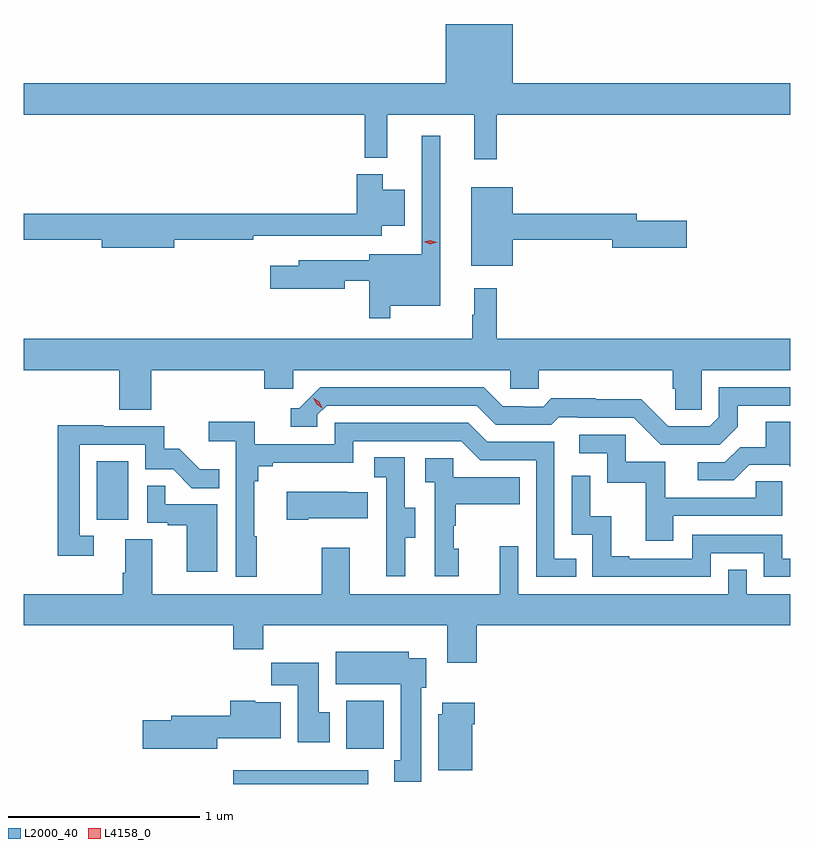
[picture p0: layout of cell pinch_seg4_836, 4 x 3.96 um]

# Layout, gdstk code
import gdstk
lib = gdstk.Library(unit=1e-6, precision=1e-09)
def R(c, l, rs):  # rectangles x0, y0, x1, y1
    for r in rs: c.add(gdstk.rectangle(r[:2], r[2:], *l))
def P(c, l, *ps):  # polygons
    for p in ps: c.add(gdstk.Polygon(p, *l))
L2000_40 = (2000, 40)
L4158_0 = (4158, 0)

pinch_seg4_836 = lib.new_cell('pinch_seg4_836')
R(pinch_seg4_836, L2000_40, [(875.765,794.661,876.469,794.734), (876.353,794.844,876.549,795.094), (875.054,796.038,875.218,796.345)])
P(pinch_seg4_836, L2000_40, [(877.139,798.152),(878.671,798.152),(878.671,798.316),(877.222,798.316),(877.222,798.625),(876.872,798.625),(876.872,798.316),(874.671,798.316),(874.671,798.152),(876.451,798.152),(876.451,797.927),(876.569,797.927),(876.569,798.152),(877.022,798.152),(877.022,797.919),(877.139,797.919)],
  [(876.583,797.156),(876.844,797.156),(876.844,798.043),(876.747,798.043),(876.747,797.425),(876.473,797.425),(876.473,797.394),(876.107,797.394),(876.107,797.365),(875.958,797.365),(875.958,797.243),(876.346,797.243),(876.346,797.286),(876.474,797.286),(876.474,797.091),(876.583,797.091)],
  [(875.458,797.5),(875.87,797.5),(875.87,797.52),(876.538,797.52),(876.538,797.573),(876.658,797.573),(876.658,797.761),(876.544,797.761),(876.544,797.842),(876.41,797.842),(876.41,797.636),(874.671,797.636),(874.671,797.5),(875.078,797.5),(875.078,797.458),(875.458,797.458)],
  [(877.222,797.5),(877.742,797.5),(877.742,797.458),(878.131,797.458),(878.131,797.6),(877.87,797.6),(877.87,797.636),(877.222,797.636),(877.222,797.773),(877.007,797.773),(877.007,797.363),(877.222,797.363)],
  [(874.671,796.82),(875.171,796.82),(875.171,796.612),(875.336,796.612),(875.336,796.82),(875.927,796.82),(875.927,796.722),(876.078,796.722),(876.078,796.82),(877.209,796.82),(877.209,796.722),(877.359,796.722),(877.359,796.82),(878.057,796.82),(878.057,796.722),(878.071,796.722),(878.071,796.612),(878.208,796.612),(878.208,796.82),(878.671,796.82),(878.671,796.984),(877.139,796.984),(877.139,797.248),(877.022,797.248),(877.022,797.108),(877.011,797.108),(877.011,796.984),(874.671,796.984)],
  [(878.395,796.525),(878.395,796.635),(878.671,796.635),(878.671,796.731),(878.298,796.731),(878.298,796.575),(878.25,796.527),(878.034,796.527),(877.892,796.669),(877.656,796.669),(877.656,796.672),(877.423,796.672),(877.381,796.629),(877.278,796.629),(877.278,796.632),(877.171,796.632),(877.072,796.731),(876.219,796.731),(876.108,796.62),(876.065,796.62),(876.065,796.524),(876.204,796.524),(876.204,796.587),(876.252,796.635),(877.035,796.635),(877.134,796.536),(877.423,796.536),(877.462,796.575),(877.561,796.575),(877.561,796.572),(877.854,796.572),(877.995,796.431),(878.301,796.431)],
  [(875.887,795.953),(875.875,795.953),(875.875,796.241),(875.894,796.241),(875.894,796.318),(875.971,796.318),(875.971,796.337),(876.39,796.337),(876.39,796.449),(876.954,796.449),(877.053,796.35),(877.344,796.35),(877.344,795.741),(877.553,795.741),(877.553,795.837),(877.44,795.837),(877.44,796.446),(877.09,796.446),(876.991,796.545),(876.294,796.545),(876.294,796.434),(875.876,796.434),(875.876,796.55),(875.637,796.55),(875.637,796.448),(875.778,796.448),(875.778,795.741),(875.887,795.741)],
  [(878.455,796.326),(878.661,796.326),(878.671,796.316),(878.671,796.55),(878.543,796.55),(878.543,796.418),(878.408,796.418),(878.328,796.338),(878.187,796.338),(878.187,796.245),(878.374,796.245)],
  [(875.038,795.957),(874.965,795.957),(874.965,796.431),(875.307,796.431),(875.307,796.302),(875.451,796.302),(875.549,796.204),(875.693,796.204),(875.693,796.303),(875.589,796.303),(875.482,796.41),(875.406,796.41),(875.406,796.527),(875.087,796.527),(875.087,796.532),(874.849,796.532),(874.849,795.852),(875.038,795.852)],
  [(878.059,796.059),(878.628,796.059),(878.628,796.239),(878.491,796.239),(878.491,796.155),(878.017,796.155),(878.017,796.341),(877.812,796.341),(877.812,796.482),(877.569,796.482),(877.569,796.386),(877.716,796.386),(877.716,796.233),(877.915,796.233),(877.915,795.93),(878.059,795.93)],
  [(876.661,795.946),(876.715,795.946),(876.715,796.101),(876.66,796.101),(876.66,796.364),(876.501,796.364),(876.501,796.261),(876.564,796.261),(876.564,795.957),(876.563,795.957),(876.563,795.744),(876.661,795.744)],
  [(876.94,795.888),(876.915,795.888),(876.915,796.007),(876.925,796.007),(876.925,796.121),(877.259,796.121),(877.259,796.261),(876.912,796.261),(876.912,796.359),(876.765,796.359),(876.765,796.235),(876.816,796.235),(876.816,795.744),(876.94,795.744)],
  [(878.256,795.864),(878.532,795.864),(878.532,795.741),(878.671,795.741),(878.671,795.837),(878.628,795.837),(878.628,795.96),(878.16,795.96),(878.16,795.837),(877.831,795.837),(877.831,795.85),(877.736,795.85),(877.736,796.058),(877.626,796.058),(877.626,796.27),(877.53,796.27),(877.53,795.96),(877.638,795.96),(877.638,795.741),(878.256,795.741)],
  [(875.68,796.119),(875.411,796.119),(875.411,796.217),(875.316,796.217),(875.316,796.023),(875.423,796.023),(875.423,796.011),(875.522,796.011),(875.522,795.768),(875.68,795.768)],
  [(876.157,796.046),(876.467,796.046),(876.467,796.183),(876.359,796.183),(876.359,796.186),(876.045,796.186),(876.045,796.039),(876.157,796.039)],
  [(877.034,795.488),(878.671,795.488),(878.671,795.652),(878.442,795.652),(878.442,795.779),(878.346,795.779),(878.346,795.652),(877.251,795.652),(877.251,795.901),(877.154,795.901),(877.154,795.652),(876.373,795.652),(876.373,795.892),(876.226,795.892),(876.226,795.652),(875.341,795.652),(875.341,795.938),(875.201,795.938),(875.201,795.764),(875.189,795.764),(875.189,795.652),(874.671,795.652),(874.671,795.488),(875.765,795.488),(875.765,795.364),(875.921,795.364),(875.921,795.488),(876.881,795.488),(876.881,795.294),(877.034,795.294)],
  [(876.745,795.162),(876.772,795.162),(876.772,795.316),(876.679,795.316),(876.679,795.352),(876.299,795.352),(876.299,795.182),(876.638,795.182),(876.638,794.785),(876.605,794.785),(876.605,794.673),(876.745,794.673)],
  [(876.268,795.036),(876.211,795.036),(876.211,795.294),(875.962,795.294),(875.962,795.176),(876.101,795.176),(876.101,794.88),(876.268,794.88)],
  [(875.68,794.9),(876.013,794.9),(876.013,795.088),(875.88,795.088),(875.88,795.094),(875.75,795.094),(875.75,795.018),(875.441,795.018),(875.441,794.993),(875.292,794.993),(875.292,794.846),(875.68,794.846)],
  [(877.012,794.972),(877.025,794.972),(877.025,795.085),(876.854,795.085),(876.854,795.024),(876.833,795.024),(876.833,794.732),(877.012,794.732)])
P(pinch_seg4_836, L4158_0, [(876.793,797.477),(876.758,797.489),(876.757,797.489),(876.758,797.489),(876.793,797.497),(876.829,797.486),(876.829,797.486),(876.829,797.486)],
  [(876.229,796.622),(876.199,796.642),(876.182,796.675),(876.182,796.675),(876.183,796.675),(876.214,796.655),(876.23,796.622),(876.23,796.622)])

lib.write_gds('pinch_seg4_836.gds')
